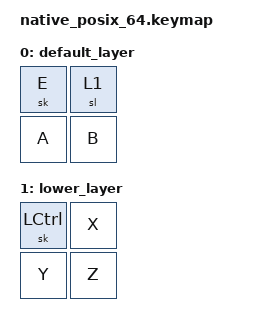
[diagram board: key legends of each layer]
#include <dt-bindings/zmk/keys.h>
#include <behaviors.dtsi>
#include <dt-bindings/zmk/kscan_mock.h>

/*
 sticky layers should quick-release.
 Thus, the second keypress should be on the default layer, not on the lower_layer.
*/

/ {
    keymap {
        compatible = "zmk,keymap";
        label ="Default keymap";

        default_layer {
            bindings = <
                &sk E &sl 1
                &kp A &kp B>;
        };

        lower_layer {
            bindings = <
                &sk LEFT_CONTROL &kp X
                &kp Y  &kp Z>;
        };
    };
};

&kscan {
    events = <
        /* press sl 1 */
        ZMK_MOCK_PRESS(0,1,10)
        ZMK_MOCK_RELEASE(0,1,10)
        /* press X */
        ZMK_MOCK_PRESS(0,1,10)
        /* press A */
        ZMK_MOCK_PRESS(1,0,10)
        ZMK_MOCK_RELEASE(0,1,10)
        ZMK_MOCK_RELEASE(1,0,10)

        /* repeat test to check if cleanup is done correctly */
        /* press sl 1 */
        ZMK_MOCK_PRESS(0,1,10)
        ZMK_MOCK_RELEASE(0,1,10)
        /* press X */
        ZMK_MOCK_PRESS(0,1,10)
        /* press Y */
        ZMK_MOCK_PRESS(1,0,10)
        ZMK_MOCK_RELEASE(0,1,10)
        ZMK_MOCK_RELEASE(1,0,10)
    >;
};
